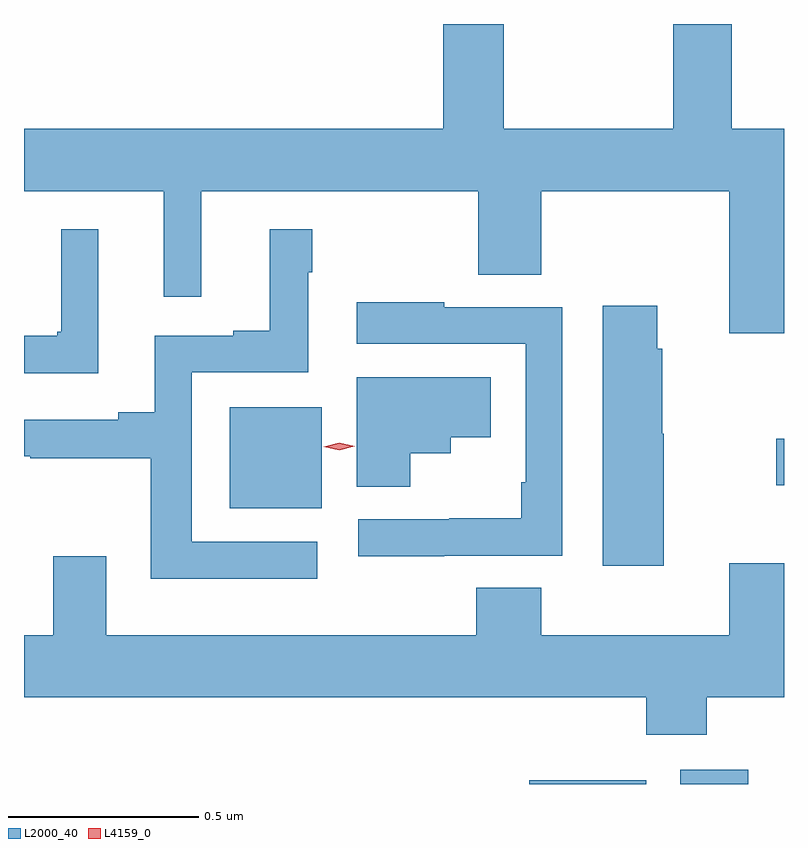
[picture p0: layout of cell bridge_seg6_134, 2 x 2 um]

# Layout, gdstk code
import gdstk
lib = gdstk.Library(unit=1e-6, precision=1e-09)
def R(c, l, rs):  # rectangles x0, y0, x1, y1
    for r in rs: c.add(gdstk.rectangle(r[:2], r[2:], *l))
def P(c, l, *ps):  # polygons
    for p in ps: c.add(gdstk.Polygon(p, *l))
L2000_40 = (2000, 40)
L4159_0 = (4159, 0)

bridge_seg6_134 = lib.new_cell('bridge_seg6_134')
R(bridge_seg6_134, L2000_40, [(440.205,957.764,440.514,957.774), (440.603,957.764,440.782,957.802), (439.418,958.49,439.66,958.756), (440.856,958.55,440.876,958.672)])
P(bridge_seg6_134, L2000_40, [(440.876,959.488),(440.739,959.488),(440.739,959.764),(440.584,959.764),(440.584,959.488),(440.139,959.488),(440.139,959.764),(439.979,959.764),(439.979,959.488),(438.876,959.488),(438.876,959.324),(439.244,959.324),(439.244,959.046),(439.343,959.046),(439.343,959.324),(440.071,959.324),(440.071,959.104),(440.237,959.104),(440.237,959.324),(440.732,959.324),(440.732,958.95),(440.876,958.95)],
  [(439.648,958.401),(439.317,958.401),(439.317,958.848),(439.624,958.848),(439.624,959.111),(439.634,959.111),(439.634,959.224),(439.523,959.224),(439.523,958.957),(439.427,958.957),(439.427,958.944),(439.22,958.944),(439.22,958.742),(439.124,958.742),(439.124,958.722),(438.876,958.722),(438.876,958.626),(438.892,958.626),(438.892,958.621),(439.209,958.621),(439.209,958.304),(439.648,958.304)],
  [(439.072,959.224),(438.974,959.224),(438.974,958.954),(438.963,958.954),(438.963,958.943),(438.876,958.943),(438.876,958.845),(439.072,958.845)],
  [(439.982,958.365),(440.292,958.365),(440.292,959.019),(439.982,959.019),(439.982,959.032),(439.752,959.032),(439.752,958.923),(440.196,958.923),(440.196,958.558),(440.184,958.558),(440.184,958.463),(439.995,958.463),(439.995,958.461),(439.755,958.461),(439.755,958.364),(439.982,958.364)],
  [(440.56,958.686),(440.555,958.686),(440.555,958.91),(440.542,958.91),(440.542,959.023),(440.399,959.023),(440.399,958.338),(440.56,958.338)],
  [(439.893,958.634),(439.999,958.634),(439.999,958.676),(440.104,958.676),(440.104,958.834),(439.751,958.834),(439.751,958.546),(439.893,958.546)],
  [(440.673,957.992),(440.876,957.992),(440.876,958.345),(440.732,958.345),(440.732,958.156),(440.237,958.156),(440.237,958.28),(440.066,958.28),(440.066,958.156),(439.093,958.156),(439.093,958.363),(438.953,958.363),(438.953,958.156),(438.876,958.156),(438.876,957.992),(440.513,957.992),(440.513,957.893),(440.673,957.893)])
P(bridge_seg6_134, L4159_0, [(439.706,958.642),(439.665,958.651),(439.664,958.651),(439.665,958.651),(439.705,958.662),(439.746,958.653),(439.747,958.653),(439.746,958.653)])

lib.write_gds('bridge_seg6_134.gds')
